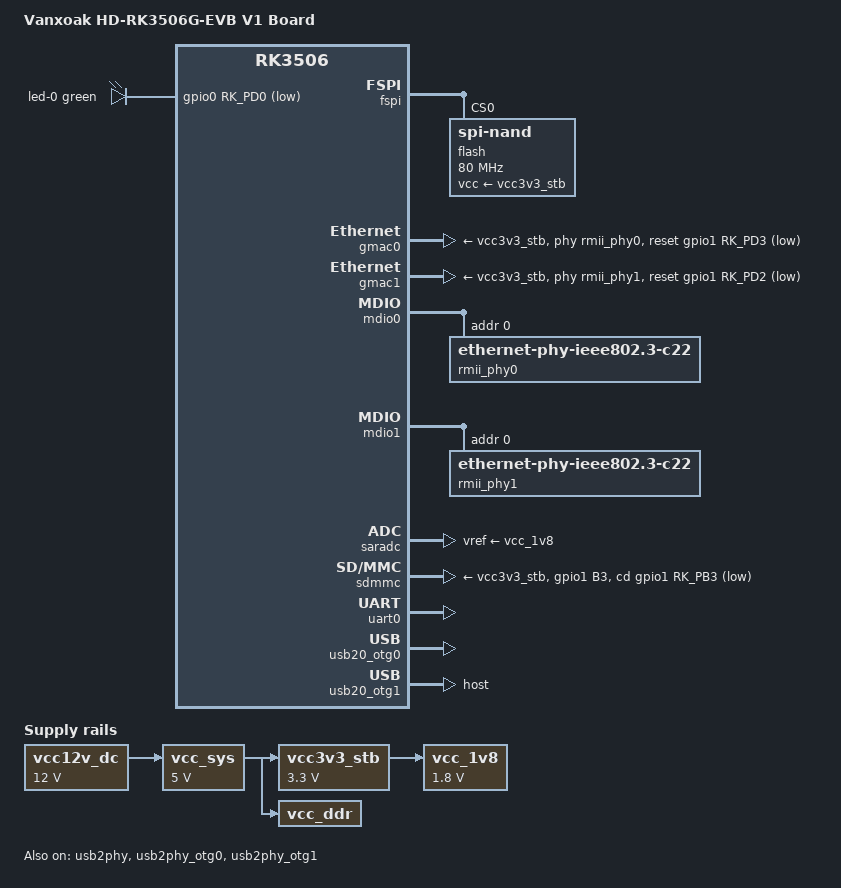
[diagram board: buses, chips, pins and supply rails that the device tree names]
// SPDX-License-Identifier: (GPL-2.0+ OR MIT)

/dts-v1/;

#include <dt-bindings/leds/common.h>
#include "rk3506.dtsi"

/ {
	model = "Vanxoak HD-RK3506G-EVB V1 Board";
	compatible = "vanxoak,hd-rk3506g-evb", "rockchip,rk3506";

	aliases {
		ethernet0 = <&gmac0>;
		ethernet1 = <&gmac1>;
		mmc0 = &sdmmc;
		serial0 = &uart0;
	};

	chosen {
		stdout-path = "serial0:1500000n8";
	};

	leds {
		compatible = "gpio-leds";

		led-0 {
			color = <LED_COLOR_ID_GREEN>;
			default-state = "on";
			function = LED_FUNCTION_HEARTBEAT;
			gpios = <&gpio0 RK_PD0 GPIO_ACTIVE_LOW>;
			linux,default-trigger = "heartbeat";
			pinctrl-names = "default";
			pinctrl-0 = <&run_led>;
		};
	};

	vcc12v_dc: regulator-12v-dc {
		compatible = "regulator-fixed";
		regulator-name = "vcc12v_dc";
		regulator-always-on;
		regulator-boot-on;
		regulator-min-microvolt = <12000000>;
		regulator-max-microvolt = <12000000>;
	};

	vcc_sys: regulator-vcc-sys {
		compatible = "regulator-fixed";
		regulator-name = "vcc_sys";
		regulator-always-on;
		regulator-boot-on;
		regulator-min-microvolt = <5000000>;
		regulator-max-microvolt = <5000000>;
		vin-supply = <&vcc12v_dc>;
	};

	vcc3v3_stb: regulator-3v3-stb {
		compatible = "regulator-fixed";
		regulator-name = "vcc3v3_stb";
		regulator-always-on;
		regulator-boot-on;
		regulator-min-microvolt = <3300000>;
		regulator-max-microvolt = <3300000>;
		vin-supply = <&vcc_sys>;
	};

	vcc_1v8: regulator-1v8 {
		compatible = "regulator-fixed";
		regulator-name = "vcc_1v8";
		regulator-always-on;
		regulator-boot-on;
		regulator-min-microvolt = <1800000>;
		regulator-max-microvolt = <1800000>;
		vin-supply = <&vcc3v3_stb>;
	};

	vcc_ddr: regulator-vcc-ddr {
		compatible = "regulator-fixed";
		regulator-name = "vcc_ddr";
		regulator-always-on;
		regulator-boot-on;
		vin-supply = <&vcc_sys>;
	};
};

&fspi {
	status = "okay";

	flash@0 {
		compatible = "spi-nand";
		reg = <0>;
		spi-max-frequency = <80000000>;
		spi-rx-bus-width = <4>;
		spi-tx-bus-width = <1>;
		vcc-supply = <&vcc3v3_stb>;
	};
};

&gmac0 {
	clock_in_out = "input";
	phy-handle = <&rmii_phy0>;
	phy-supply = <&vcc3v3_stb>;
	pinctrl-names = "default";
	pinctrl-0 = <&eth_rmii0_miim>, <&eth_rmii0_tx_bus2>,
		    <&eth_rmii0_rx_bus2>, <&eth_rmii0_clk>;
	snps,reset-gpio = <&gpio1 RK_PD3 GPIO_ACTIVE_LOW>;
	snps,reset-active-low;
	snps,reset-delays-us = <0 20000 100000>;
	status = "okay";
};

&gmac1 {
	clock_in_out = "input";
	phy-handle = <&rmii_phy1>;
	phy-supply = <&vcc3v3_stb>;
	pinctrl-names = "default";
	pinctrl-0 = <&eth_rmii1_miim>, <&eth_rmii1_tx_bus2>,
		    <&eth_rmii1_rx_bus2>, <&eth_rmii1_clk>;
	snps,reset-gpio = <&gpio1 RK_PD2 GPIO_ACTIVE_LOW>;
	snps,reset-active-low;
	snps,reset-delays-us = <0 20000 100000>;
	status = "okay";
};

&mdio0 {
	rmii_phy0: ethernet-phy@0 {
		compatible = "ethernet-phy-ieee802.3-c22";
		reg = <0>;
	};
};

&mdio1 {
	rmii_phy1: ethernet-phy@0 {
		compatible = "ethernet-phy-ieee802.3-c22";
		reg = <0>;
	};
};

&pinctrl {
	leds {
		/omit-if-no-ref/
		run_led: run-led {
			rockchip,pins = <0 RK_PD0 RK_FUNC_GPIO &pcfg_pull_none>;
		};
	};

	sdmmc {
		/omit-if-no-ref/
		sdmmc_det_l: sdmmc-det-l {
			rockchip,pins = <1 RK_PB3 RK_FUNC_GPIO &pcfg_pull_up>;
		};
	};
};

&saradc {
	vref-supply = <&vcc_1v8>;
	status = "okay";
};

&sdmmc {
	cap-sd-highspeed;
	cd-gpios = <&gpio1 RK_PB3 GPIO_ACTIVE_LOW>;
	disable-wp;
	no-mmc;
	no-sdio;
	pinctrl-names = "default";
	pinctrl-0 = <&sdmmc_bus4>, <&sdmmc_clk>, <&sdmmc_cmd>, <&sdmmc_det_l>;
	vmmc-supply = <&vcc3v3_stb>;
	vqmmc-supply = <&vcc3v3_stb>;
	status = "okay";
};

&uart0 {
	status = "okay";
};

&usb20_otg0 {
	status = "okay";
};

&usb20_otg1 {
	dr_mode = "host";
	status = "okay";
};

&usb2phy {
	status = "okay";
};

&usb2phy_otg0 {
	status = "okay";
};

&usb2phy_otg1 {
	status = "okay";
};
